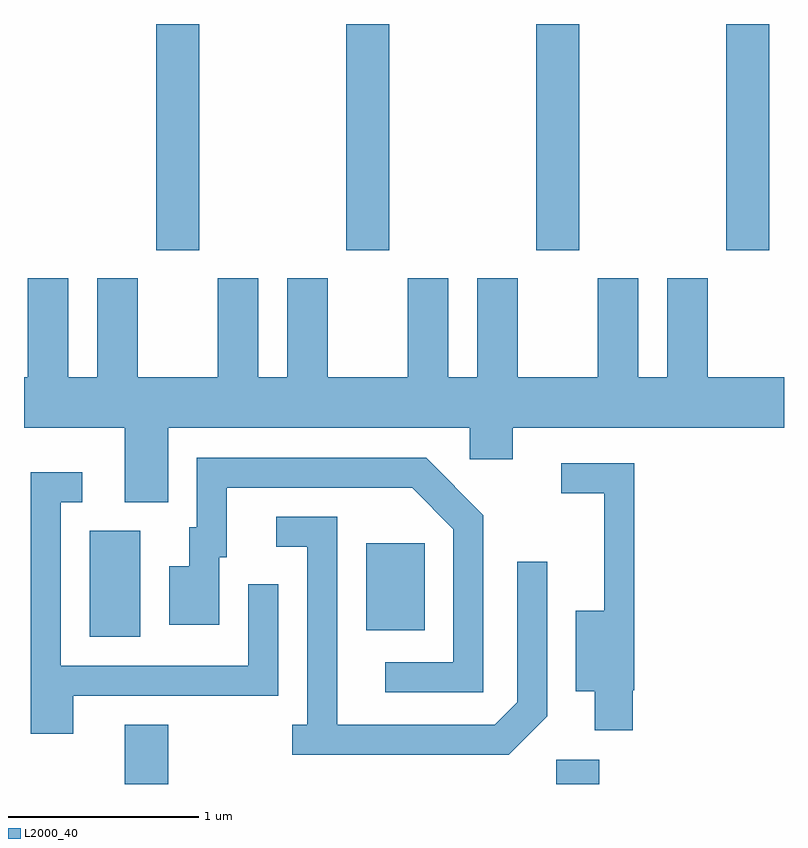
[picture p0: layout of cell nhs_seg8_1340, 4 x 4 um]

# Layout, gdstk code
import gdstk
lib = gdstk.Library(unit=1e-6, precision=1e-09)
def R(c, l, rs):  # rectangles x0, y0, x1, y1
    for r in rs: c.add(gdstk.rectangle(r[:2], r[2:], *l))
def A(c, l, x, y, w, h, nx, ny, dx, dy):  # array of equal rectangles
    R(c, l, [(x+i*dx, y+j*dy, x+i*dx+w, y+j*dy+h) for i in range(nx) for j in range(ny)])
def P(c, l, *ps):  # polygons
    for p in ps: c.add(gdstk.Polygon(p, *l))
L2000_40 = (2000, 40)

nhs_seg8_1340 = lib.new_cell('nhs_seg8_1340')
A(nhs_seg8_1340, L2000_40, 226.306, 1815.151, 0.228, 1.191, 4, 1, 1, 0)
R(nhs_seg8_1340, L2000_40, [(226.141,1812.342,226.369,1812.654), (228.411,1812.342,228.639,1812.469), (225.956,1813.116,226.224,1813.674), (227.411,1813.151,227.719,1813.609)])
P(nhs_seg8_1340, L2000_40, [(226.369,1814.216),(227.956,1814.216),(227.956,1814.051),(228.184,1814.051),(228.184,1814.216),(229.611,1814.216),(229.611,1814.484),(229.209,1814.484),(229.209,1815.004),(228.996,1815.004),(228.996,1814.484),(228.844,1814.484),(228.844,1815.004),(228.631,1815.004),(228.631,1814.484),(228.209,1814.484),(228.209,1815.004),(227.996,1815.004),(227.996,1814.484),(227.844,1814.484),(227.844,1815.004),(227.631,1815.004),(227.631,1814.484),(227.209,1814.484),(227.209,1815.004),(226.996,1815.004),(226.996,1814.484),(226.844,1814.484),(226.844,1815.004),(226.631,1815.004),(226.631,1814.484),(226.209,1814.484),(226.209,1815.004),(225.996,1815.004),(225.996,1814.484),(225.844,1814.484),(225.844,1815.004),(225.631,1815.004),(225.631,1814.484),(225.611,1814.484),(225.611,1814.216),(226.141,1814.216),(226.141,1813.826),(226.369,1813.826)],
  [(228.029,1813.757),(227.727,1814.059),(226.521,1814.059),(226.521,1813.694),(226.481,1813.694),(226.481,1813.489),(226.376,1813.489),(226.376,1813.181),(226.639,1813.181),(226.639,1813.536),(226.679,1813.536),(226.679,1813.901),(227.654,1813.901),(227.871,1813.684),(227.871,1812.984),(227.513,1812.984),(227.513,1812.826),(228.029,1812.826)],
  [(228.814,1812.835),(228.824,1812.835),(228.824,1814.029),(228.438,1814.029),(228.438,1813.871),(228.666,1813.871),(228.666,1813.254),(228.516,1813.254),(228.516,1812.831),(228.616,1812.831),(228.616,1812.626),(228.814,1812.626)],
  [(225.869,1812.806),(226.949,1812.806),(226.949,1813.393),(226.791,1813.393),(226.791,1812.964),(225.804,1812.964),(225.804,1813.826),(225.918,1813.826),(225.918,1813.984),(225.646,1813.984),(225.646,1812.606),(225.869,1812.606)],
  [(228.364,1812.699),(228.364,1813.513),(228.206,1813.513),(228.206,1812.772),(228.089,1812.654),(227.259,1812.654),(227.259,1813.749),(226.938,1813.749),(226.938,1813.591),(227.101,1813.591),(227.101,1812.654),(227.023,1812.654),(227.023,1812.496),(228.162,1812.496)])

lib.write_gds('nhs_seg8_1340.gds')
